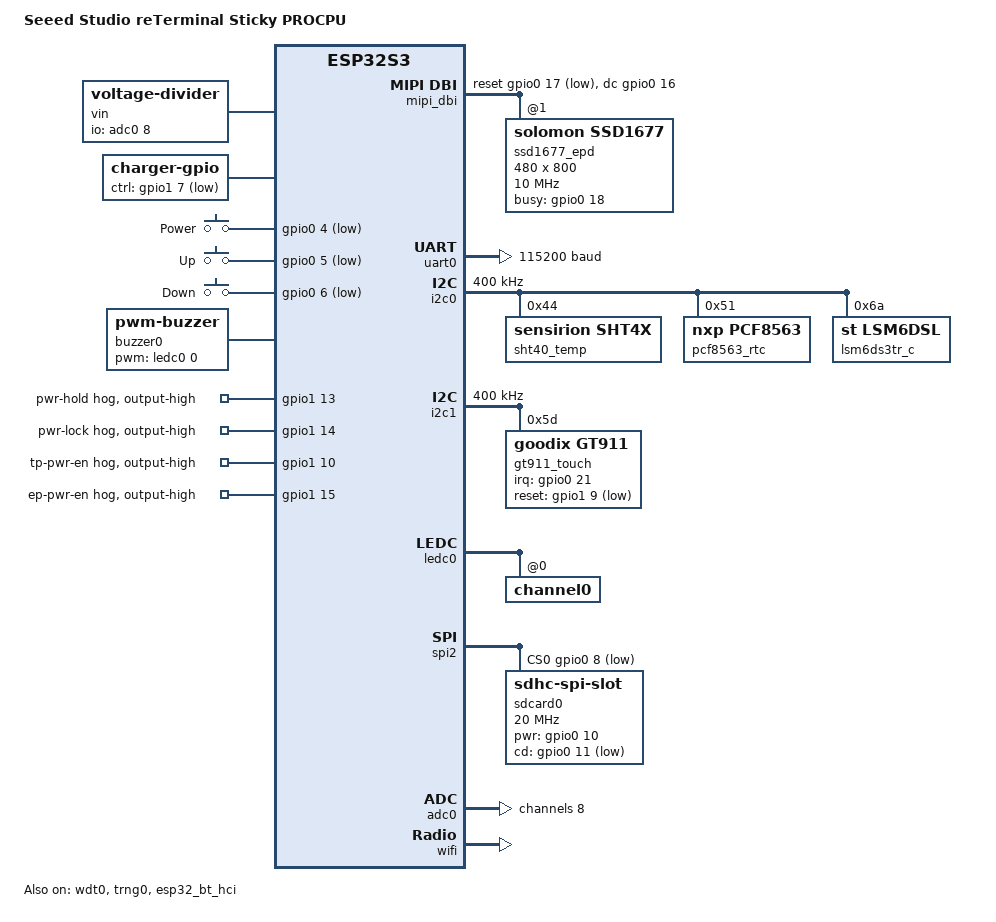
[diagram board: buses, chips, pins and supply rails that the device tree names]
/*
 * SPDX-FileCopyrightText: Copyright The Zephyr Project Contributors
 * SPDX-License-Identifier: Apache-2.0
 */

/dts-v1/;

#include <espressif/esp32s3/esp32s3.dtsi>
#include <zephyr/dt-bindings/adc/adc.h>
#include <zephyr/dt-bindings/input/input-event-codes.h>
#include <zephyr/dt-bindings/pwm/pwm.h>
#include <zephyr/dt-bindings/gpio/gpio.h>
#include <espressif/partitions_0x0_amp_32M.dtsi>
#include "reterminal_sticky-pinctrl.dtsi"

/ {
	model = "Seeed Studio reTerminal Sticky PROCPU";
	compatible = "seeed,reterminal-sticky";

	chosen {
		zephyr,sram = &sram1;
		zephyr,console = &uart0;
		zephyr,shell-uart = &uart0;
		zephyr,flash = &flash0;
		zephyr,code-partition = &slot0_partition;
		zephyr,bt-hci = &esp32_bt_hci;
		zephyr,rtc = &pcf8563_rtc;
		zephyr,display = &ssd1677_epd;
		zephyr,touch = &gt911_touch;
	};

	aliases {
		accel0 = &lsm6ds3tr_c;
		buzzer0 = &buzzer0;
		i2c-0 = &i2c0;
		i2c-1 = &i2c1;
		rtc = &pcf8563_rtc;
		sdhc0 = &sdcard0;
		sw0 = &power_key;
		sw1 = &up_key;
		sw2 = &down_key;
		temp0 = &sht40_temp;
		uart-0 = &uart0;
		watchdog0 = &wdt0;
	};

	vin: vin {
		compatible = "voltage-divider";
		io-channels = <&adc0 8>;
		output-ohms = <5100>;
		full-ohms = <10200>;
	};

	charger: charger {
		compatible = "zephyr,charger-gpio";
		ctrl-gpios = <&gpio1 7 GPIO_ACTIVE_LOW>;
	};

	buttons {
		compatible = "gpio-keys";

		power_key: button_0 {
			gpios = <&gpio0 4 GPIO_ACTIVE_LOW>;
			label = "Power";
			zephyr,code = <INPUT_KEY_POWER>;
		};

		up_key: button_1 {
			gpios = <&gpio0 5 GPIO_ACTIVE_LOW>;
			label = "Up";
			zephyr,code = <INPUT_KEY_UP>;
		};

		down_key: button_2 {
			gpios = <&gpio0 6 GPIO_ACTIVE_LOW>;
			label = "Down";
			zephyr,code = <INPUT_KEY_DOWN>;
		};
	};

	buzzer0: buzzer0 {
		compatible = "pwm-buzzer";
		pwms = <&ledc0 0 PWM_HZ(4000) PWM_POLARITY_NORMAL>;
	};

	mipi_dbi {
		compatible = "zephyr,mipi-dbi-spi";
		spi-dev = <&spi2>;
		dc-gpios = <&gpio0 16 GPIO_ACTIVE_HIGH>;
		reset-gpios = <&gpio0 17 GPIO_ACTIVE_LOW>;
		write-only;
		#address-cells = <1>;
		#size-cells = <0>;

		ssd1677_epd: ssd1677@1 {
			compatible = "solomon,ssd1677";
			reg = <1>;
			mipi-max-frequency = <DT_FREQ_M(10)>;
			width = <480>;
			height = <800>;
			busy-gpios = <&gpio0 18 GPIO_ACTIVE_HIGH>;
			softstart = [ae c7 c3 c0 80];
			tssv = <0x80>;
			gdo-flags = <0x02>;
			v-mirror;

			full {
				border-waveform = <0x01>;
			};
		};
	};
};

&flash0 {
	reg = <0x0 DT_SIZE_M(32)>;
	ranges = <0x0 0x0 DT_SIZE_M(32)>;
};

&psram0 {
	size = <DT_SIZE_M(8)>;
};

&dma {
	status = "okay";
};

&uart0 {
	status = "okay";
	current-speed = <115200>;
	pinctrl-0 = <&uart0_default>;
	pinctrl-names = "default";
};

&gpio0 {
	status = "okay";
};

&gpio1 {
	status = "okay";

	/*
	 * The system power switch is held on by a 74AHC1G79 flip-flop once the
	 * power button is released. PWR_HOLD (GPIO45) drives D and PWR_LOCK
	 * (GPIO46) drives CP. Hogs are applied in order, so D is set before
	 * the rising edge on CP latches it.
	 */
	pwr-hold-hog {
		gpio-hog;
		gpios = <13 GPIO_ACTIVE_HIGH>;
		output-high;
		line-name = "pwr-hold";
	};

	pwr-lock-hog {
		gpio-hog;
		gpios = <14 GPIO_ACTIVE_HIGH>;
		output-high;
		line-name = "pwr-lock";
	};

	tp-pwr-en-hog {
		gpio-hog;
		gpios = <10 GPIO_ACTIVE_HIGH>;
		output-high;
		line-name = "tp-pwr-en";
	};

	ep-pwr-en-hog {
		gpio-hog;
		gpios = <15 GPIO_ACTIVE_HIGH>;
		output-high;
		line-name = "ep-pwr-en";
	};
};

&i2c0 {
	status = "okay";
	clock-frequency = <I2C_BITRATE_FAST>;
	pinctrl-0 = <&i2c0_default>;
	pinctrl-names = "default";

	sht40_temp: sht4x@44 {
		compatible = "sensirion,sht4x";
		reg = <0x44>;
		repeatability = <2>;
	};

	pcf8563_rtc: pcf8563@51 {
		compatible = "nxp,pcf8563";
		reg = <0x51>;
	};

	lsm6ds3tr_c: lsm6ds3tr-c@6a {
		compatible = "st,lsm6dsl";
		reg = <0x6a>;
	};
};

&i2c1 {
	status = "okay";
	clock-frequency = <I2C_BITRATE_FAST>;
	pinctrl-0 = <&i2c1_default>;
	pinctrl-names = "default";

	gt911_touch: gt911@5d {
		compatible = "goodix,gt911";
		reg = <0x5d>;
		irq-gpios = <&gpio0 21 GPIO_ACTIVE_HIGH>;
		reset-gpios = <&gpio1 9 GPIO_ACTIVE_LOW>;
		screen-width = <800>;
		screen-height = <480>;
		inverted-y;
		display = <&ssd1677_epd>;
	};
};

&ledc0 {
	status = "okay";
	#address-cells = <1>;
	#size-cells = <0>;
	pinctrl-0 = <&ledc0_default>;
	pinctrl-names = "default";

	channel0@0 {
		reg = <0x0>;
		timer = <0>;
	};
};

&spi2 {
	#address-cells = <1>;
	#size-cells = <0>;
	status = "okay";
	pinctrl-0 = <&spim2_default>;
	pinctrl-names = "default";
	cs-gpios = <&gpio0 8 GPIO_ACTIVE_LOW>, <&gpio0 15 GPIO_ACTIVE_LOW>;

	sdcard0: sdhc@0 {
		compatible = "zephyr,sdhc-spi-slot";
		reg = <0>;
		status = "okay";
		spi-max-frequency = <DT_FREQ_M(20)>;
		pwr-gpios = <&gpio0 10 GPIO_ACTIVE_HIGH>;
		cd-gpios = <&gpio0 11 (GPIO_PULL_UP | GPIO_ACTIVE_LOW)>;
		power-delay-ms = <5>;

		mmc {
			compatible = "zephyr,sdmmc-disk";
			disk-name = "SD";
			status = "okay";
		};
	};
};

&adc0 {
	status = "okay";
	#address-cells = <1>;
	#size-cells = <0>;

	channel@8 {
		reg = <8>;
		zephyr,gain = "ADC_GAIN_1_4";
		zephyr,reference = "ADC_REF_INTERNAL";
		zephyr,acquisition-time = <ADC_ACQ_TIME_DEFAULT>;
		zephyr,resolution = <12>;
	};
};

&timer0 {
	status = "disabled";
};

&timer1 {
	status = "disabled";
};

&timer2 {
	status = "disabled";
};

&timer3 {
	status = "disabled";
};

&wdt0 {
	status = "okay";
};

&trng0 {
	status = "okay";
};

&usb_serial {
	status = "disabled";
};

&esp32_bt_hci {
	status = "okay";
};

&wifi {
	status = "okay";
};
